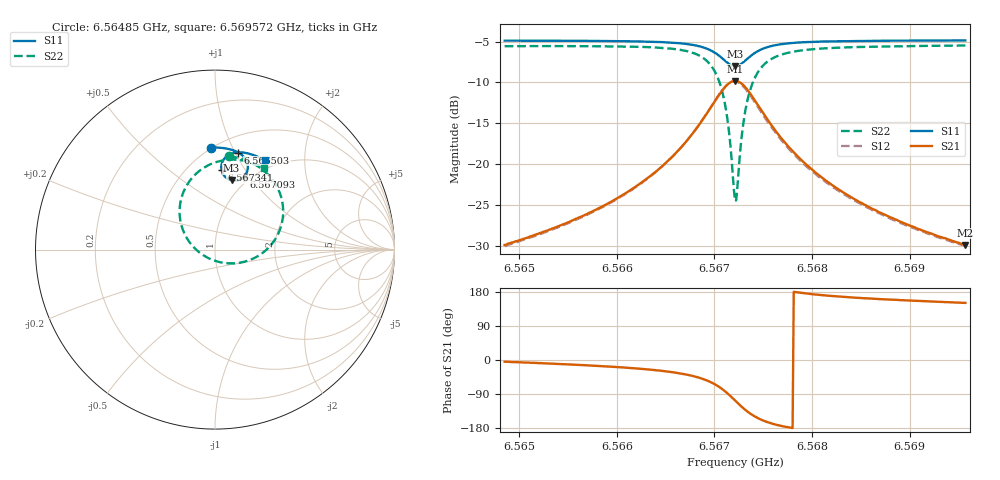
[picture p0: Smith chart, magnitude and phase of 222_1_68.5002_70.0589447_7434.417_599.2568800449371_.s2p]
#  HZ  S  RI  R  50.00
! Rohde & Schwarz Vector Network Analyzer
! Rohde-Schwarz,ZNB20-2Port,1311601062101988,3.16
! Created: UTC 3/20/2024, 5:13:41 PM
! freq[Hz]  re:S11  im:S11  re:S21  im:S21  re:S12  im:S12  re:S22  im:S22
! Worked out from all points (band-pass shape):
!   401 points, 6.56485 GHz to 6.569572 GHz, reference 50 ohm
!   highest |S21| = -9.81 dB at 6.567211 GHz (marker M1); lowest = -29.9 dB at 6.569572 GHz (marker M2)
!   |S21| within 3 dB of the highest: 6.566977 GHz to 6.567448 GHz (471.2 kHz wide, 0.00718 % of centre)
!   lowest |S11| = -8.0 dB at 6.567211 GHz (marker M3), VSWR 2.32, Z = 43.3 + j39.6 ohm
!   |S11| at or under -10 dB: nowhere
!   |S22| runs from -24.5 to -5.5 dB; largest |S21 - S12| = 0.017
!   S11 on the Smith chart (normalised r, x): 6.56485 GHz: 0.49, +0.83; 6.566503 GHz: 0.66, +1.03; 6.567093 GHz: 0.93, +0.94; 6.567341 GHz: 0.72, +0.79; 6.569572 GHz: 0.88, +1.30
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6.5648502e9  -0.0244 0.5686  0.0321 -0.00257  0.0315 -0.00307  0.0783 0.5211
6.5656411e9  0.0425 0.5661  0.0468 -0.0111  0.046 -0.0117  0.1592 0.5022
6.5661132e9  0.087 0.5578  0.0636 -0.024  0.0626 -0.0247  0.2222 0.4743
6.5664319e9  0.1215 0.5452  0.0829 -0.0437  0.0817 -0.0447  0.2791 0.4336
6.5665028e9  0.1299 0.5408  0.0885 -0.051  0.0873 -0.052  0.2944 0.4192
6.5667388e9  0.1606 0.5164  0.1108 -0.0924  0.1092 -0.0944  0.3514 0.3378
6.5669159e9  0.181 0.4771  0.1206 -0.1616  0.1174 -0.165  0.3798 0.205
6.5670221e9  0.1797 0.4373  0.0997 -0.2313  0.0931 -0.236  0.3438 0.0719
6.5670929e9  0.1616 0.4065  0.0538 -0.2836  0.043 -0.287  0.2574 -0.0244
6.5671402e9  0.1386 0.3903  0.00311 -0.3092  -0.0106 -0.3096  0.1622 -0.0683
6.5671992e9  0.1001 0.3846  -0.0763 -0.3134  -0.0913 -0.3078  0.018 -0.0678
6.567211e9  0.092 0.3859  -0.0926 -0.3097  -0.1071 -0.3025  -0.0105 -0.0587
6.5672346e9  0.0767 0.3914  -0.1233 -0.2972  -0.1366 -0.2877  -0.0635 -0.0323
6.5672936e9  0.0477 0.4165  -0.1822 -0.2455  -0.1901 -0.2317  -0.1591 0.0679
6.5673408e9  0.0368 0.4418  -0.2058 -0.1955  -0.2094 -0.1815  -0.1925 0.1588
6.5674353e9  0.04 0.4858  -0.2074 -0.1103  -0.2055 -0.0997  -0.1809 0.3072
6.5675769e9  0.0675 0.5222  -0.1711 -0.0402  -0.1672 -0.0343  -0.1028 0.425
6.5677422e9  0.0998 0.5378  -0.1313 -0.00693  -0.1281 -0.00391  -0.0206 0.4775
6.5680018e9  0.1387 0.5423  -0.0921 0.0101  -0.0897 0.0117  0.0661 0.4998
6.5683796e9  0.1809 0.5364  -0.0621 0.0161  -0.0605 0.0167  0.1434 0.4983
6.5687927e9  0.2184 0.5252  -0.0447 0.0168  -0.0438 0.017  0.1997 0.4858
6.5695717e9  0.2786 0.4981  -0.028 0.0157  -0.0274 0.0158  0.2752 0.4544
